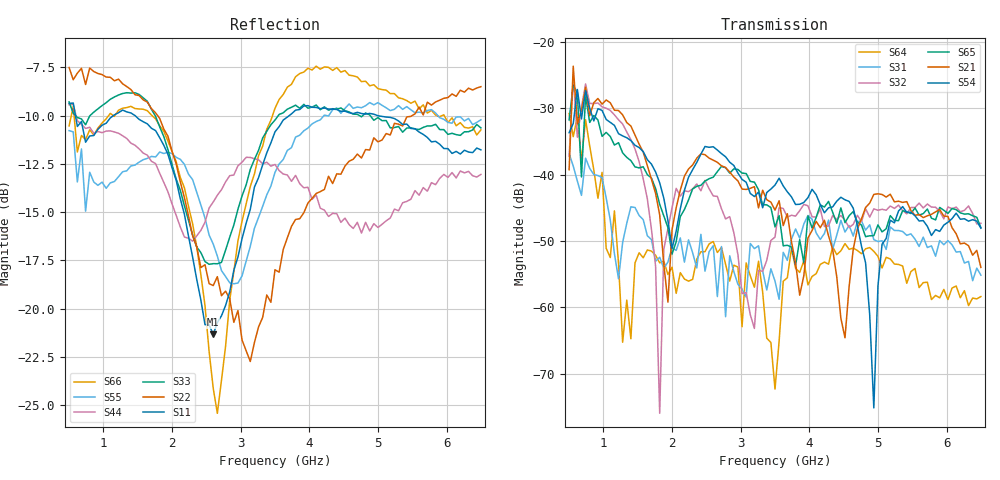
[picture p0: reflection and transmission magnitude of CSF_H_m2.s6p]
!Keysight Technologies,M9804A,MY58100912,A.14.10.03
!Date: Thursday, April 27, 2023 10:28:33
!Correction: S11(C  6-Port  )
!S12(C  6-Port  )
!S13(C  6-Port  )
!S14(C  6-Port  )
!S15(C  6-Port  )
!S16(C  6-Port  )
!S21(C  6-Port  )
!S22(C  6-Port  )
!S23(C  6-Port  )
!S24(C  6-Port  )
!S25(C  6-Port  )
!S26(C  6-Port  )
!S31(C  6-Port  )
!S32(C  6-Port  )
!S33(C  6-Port  )
!S34(C  6-Port  )
!S35(C  6-Port  )
!S36(C  6-Port  )
!S41(C  6-Port  )
!S42(C  6-Port  )
!S43(C  6-Port  )
!S44(C  6-Port  )
!S45(C  6-Port  )
!S46(C  6-Port  )
!S51(C  6-Port  )
!S52(C  6-Port  )
!S53(C  6-Port  )
!S54(C  6-Port  )
!S55(C  6-Port  )
!S56(C  6-Port  )
!S61(C  6-Port  )
!S62(C  6-Port  )
!S63(C  6-Port  )
!S64(C  6-Port  )
!S65(C  6-Port  )
!S66(C  6-Port  )
!S6P File: Measurement: :
# Hz S  RI  R 50
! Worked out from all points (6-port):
!   101 points, 500 MHz to 6.5 GHz, reference 50 ohm
!   strongest paths, dB at 500 MHz, 2 GHz, 3.5 GHz, 5 GHz, 6.5 GHz:
!     S54: -33.7, -51.1, -41.6, -56.8, -48.1
!     S21: -39.2, -48.3, -45.3, -42.9, -54.0
!     S65: -31.7, -52.0, -47.9, -47.6, -48.0
!     S32: -37.2, -44.9, -49.4, -45.4, -47.3
!     S31: -36.8, -51.0, -56.0, -50.1, -55.1
!     S64: -30.8, -53.9, -72.3, -52.3, -58.4
!   lowest |S11| = -21.3 dB at 2.6 GHz (marker M1), VSWR 1.19, Z = 42.4 + j2.3 ohm
!   |S11| at or under -10 dB: 592.1 MHz to 1.146 GHz (553.9 MHz wide, 63.7 % of centre); 1.461 GHz to 3.708 GHz (2.247 GHz wide, 87 % of centre); 4.994 GHz to end of sweep
